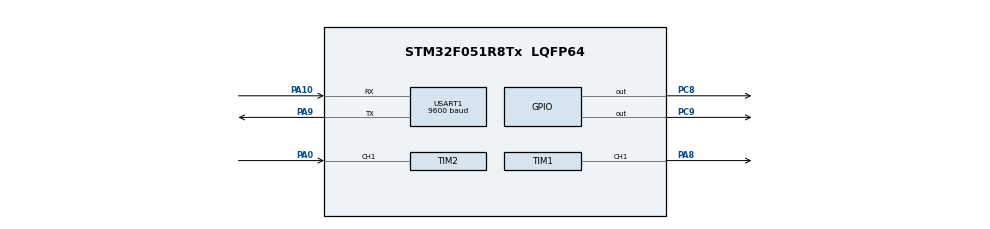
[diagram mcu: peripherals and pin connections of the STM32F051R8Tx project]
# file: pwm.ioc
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Mcu.Family=STM32F0
Mcu.Name=STM32F051R8Tx
Mcu.Package=LQFP64
NVIC.TIM2_IRQn=true\:0\:0\:false\:false\:true\:true\:true\:true
PA0.Signal=S_TIM2_CH1_ETR
PA10.Mode=Asynchronous
PA10.Signal=USART1_RX
PA13.Mode=Serial_Wire
PA13.Signal=SYS_SWDIO
PA14.Mode=Serial_Wire
PA14.Signal=SYS_SWCLK
PA8.Signal=S_TIM1_CH1
PA9.Mode=Asynchronous
PA9.Signal=USART1_TX
PC8.Signal=GPIO_Output
PC9.Signal=GPIO_Output
PF0-OSC_IN.Mode=HSE-External-Oscillator
PF0-OSC_IN.Signal=RCC_OSC_IN
PF1-OSC_OUT.Mode=HSE-External-Oscillator
PF1-OSC_OUT.Signal=RCC_OSC_OUT
ProjectManager.HeapSize=0x200
ProjectManager.StackSize=0x400
ProjectManager.TargetToolchain=STM32CubeIDE
RCC.PLLSourceVirtual=RCC_PLLSOURCE_HSE
SH.S_TIM1_CH1.0=TIM1_CH1,PWM Generation1 CH1
SH.S_TIM2_CH1_ETR.0=TIM2_CH1,PWM_Input_1
TIM1.AutoReloadPreload=TIM_AUTORELOAD_PRELOAD_ENABLE
TIM1.Channel-PWM\ Generation1\ CH1=TIM_CHANNEL_1
TIM1.Period=499
TIM1.Prescaler=7
TIM2.AutoReloadPreload=TIM_AUTORELOAD_PRELOAD_ENABLE
USART1.BaudRate=9600
USART1.VirtualMode-Asynchronous=VM_ASYNC
VP_TIM1_VS_ClockSourceINT.Mode=Internal
VP_TIM2_VS_ClockSourceINT.Mode=Internal
board=custom

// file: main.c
#include "main.h"
#include <stdio.h>

/* USER CODE BEGIN PTD */

uint32_t risingEdgeTime = 0;
uint32_t fallingEdgeTime = 0;
float dutyCycle = 0.0f;
float frequency = 0.0f;

/* USER CODE END PTD */

TIM_HandleTypeDef htim1;
TIM_HandleTypeDef htim2;

UART_HandleTypeDef huart1;

void SystemClock_Config(void);
static void MX_GPIO_Init(void);
static void MX_TIM1_Init(void);
static void MX_TIM2_Init(void);
static void MX_USART1_UART_Init(void);

/* USER CODE BEGIN 0 */
#ifdef __GNUC__
  // With GCC/RAISONANCE, small printf (option LD Linker->Libraries->Small printf set to 'Yes') calls __io_putchar()
  #define PUTCHAR_PROTOTYPE int __io_putchar(int ch)
#else
  #define PUTCHAR_PROTOTYPE int fputc(int ch, FILE *f)
#endif /* __GNUC__ */

PUTCHAR_PROTOTYPE {
  HAL_UART_Transmit(&huart1, (uint8_t*)&ch, 1, HAL_MAX_DELAY);
  return ch;
}

/* USER CODE END 0 */

int main(void)
{

  /* MCU Configuration--------------------------------------------------------*/

  /* Reset of all peripherals, Initializes the Flash interface and the Systick. */
  HAL_Init();

  /* Configure the system clock */
  SystemClock_Config();

  /* Initialize all configured peripherals */
  MX_GPIO_Init();
  MX_TIM1_Init();
  MX_TIM2_Init();
  MX_USART1_UART_Init();
  /* USER CODE BEGIN 2 */
  TIM1->CCR1 = 250;
  HAL_TIM_PWM_Start(&htim1, TIM_CHANNEL_1);
  HAL_TIM_IC_Start_IT(&htim2, TIM_CHANNEL_1);
  HAL_TIM_IC_Start(&htim2, TIM_CHANNEL_2);

  /* USER CODE END 2 */

  /* Infinite loop */
  while (1)
  {
	  // Turn ON LED on PC8
	        HAL_GPIO_WritePin(GPIOC, GPIO_PIN_8, GPIO_PIN_SET);

	        // Turn ON LED on PC9
	        HAL_GPIO_WritePin(GPIOC, GPIO_PIN_9, GPIO_PIN_SET);

	        // Add a delay to keep the LEDs ON for some time
	        HAL_Delay(1000);  // Delay for 1000 milliseconds (adjust as needed)

	        // Turn OFF LED on PC8
	        HAL_GPIO_WritePin(GPIOC, GPIO_PIN_8, GPIO_PIN_RESET);

	        // Turn OFF LED on PC9
	        HAL_GPIO_WritePin(GPIOC, GPIO_PIN_9, GPIO_PIN_RESET);

	        // Add a delay to keep the LEDs OFF for some time
	        HAL_Delay(1000);  // Delay for 1000 milliseconds (adjust as needed)
  }
}

void SystemClock_Config(void)
{
  RCC_OscInitTypeDef RCC_OscInitStruct = {0};
  RCC_ClkInitTypeDef RCC_ClkInitStruct = {0};
  RCC_PeriphCLKInitTypeDef PeriphClkInit = {0};

  /** Initializes the RCC Oscillators according to the specified parameters
  * in the RCC_OscInitTypeDef structure.
  */
  RCC_OscInitStruct.OscillatorType = RCC_OSCILLATORTYPE_HSI;
  RCC_OscInitStruct.HSIState = RCC_HSI_ON;
  RCC_OscInitStruct.HSICalibrationValue = RCC_HSICALIBRATION_DEFAULT;
  RCC_OscInitStruct.PLL.PLLState = RCC_PLL_NONE;
  if (HAL_RCC_OscConfig(&RCC_OscInitStruct) != HAL_OK)
  {
    Error_Handler();
  }

  /** Initializes the CPU, AHB and APB buses clocks
  */
  RCC_ClkInitStruct.ClockType = RCC_CLOCKTYPE_HCLK|RCC_CLOCKTYPE_SYSCLK
                              |RCC_CLOCKTYPE_PCLK1;
  RCC_ClkInitStruct.SYSCLKSource = RCC_SYSCLKSOURCE_HSI;
  RCC_ClkInitStruct.AHBCLKDivider = RCC_SYSCLK_DIV1;
  RCC_ClkInitStruct.APB1CLKDivider = RCC_HCLK_DIV1;

  if (HAL_RCC_ClockConfig(&RCC_ClkInitStruct, FLASH_LATENCY_0) != HAL_OK)
  {
    Error_Handler();
  }
  PeriphClkInit.PeriphClockSelection = RCC_PERIPHCLK_USART1;
  PeriphClkInit.Usart1ClockSelection = RCC_USART1CLKSOURCE_PCLK1;
  if (HAL_RCCEx_PeriphCLKConfig(&PeriphClkInit) != HAL_OK)
  {
    Error_Handler();
  }
}

static void MX_TIM1_Init(void)
{

  TIM_ClockConfigTypeDef sClockSourceConfig = {0};
  TIM_MasterConfigTypeDef sMasterConfig = {0};
  TIM_OC_InitTypeDef sConfigOC = {0};
  TIM_BreakDeadTimeConfigTypeDef sBreakDeadTimeConfig = {0};

  htim1.Instance = TIM1;
  htim1.Init.Prescaler = 7;
  htim1.Init.CounterMode = TIM_COUNTERMODE_UP;
  htim1.Init.Period = 499;
  htim1.Init.ClockDivision = TIM_CLOCKDIVISION_DIV1;
  htim1.Init.RepetitionCounter = 0;
  htim1.Init.AutoReloadPreload = TIM_AUTORELOAD_PRELOAD_ENABLE;
  if (HAL_TIM_Base_Init(&htim1) != HAL_OK)
  {
    Error_Handler();
  }
  sClockSourceConfig.ClockSource = TIM_CLOCKSOURCE_INTERNAL;
  if (HAL_TIM_ConfigClockSource(&htim1, &sClockSourceConfig) != HAL_OK)
  {
    Error_Handler();
  }
  if (HAL_TIM_PWM_Init(&htim1) != HAL_OK)
  {
    Error_Handler();
  }
  sMasterConfig.MasterOutputTrigger = TIM_TRGO_RESET;
  sMasterConfig.MasterSlaveMode = TIM_MASTERSLAVEMODE_DISABLE;
  if (HAL_TIMEx_MasterConfigSynchronization(&htim1, &sMasterConfig) != HAL_OK)
  {
    Error_Handler();
  }
  sConfigOC.OCMode = TIM_OCMODE_PWM1;
  sConfigOC.Pulse = 0;
  sConfigOC.OCPolarity = TIM_OCPOLARITY_HIGH;
  sConfigOC.OCNPolarity = TIM_OCNPOLARITY_HIGH;
  sConfigOC.OCFastMode = TIM_OCFAST_DISABLE;
  sConfigOC.OCIdleState = TIM_OCIDLESTATE_RESET;
  sConfigOC.OCNIdleState = TIM_OCNIDLESTATE_RESET;
  if (HAL_TIM_PWM_ConfigChannel(&htim1, &sConfigOC, TIM_CHANNEL_1) != HAL_OK)
  {
    Error_Handler();
  }
  sBreakDeadTimeConfig.OffStateRunMode = TIM_OSSR_DISABLE;
  sBreakDeadTimeConfig.OffStateIDLEMode = TIM_OSSI_DISABLE;
  sBreakDeadTimeConfig.LockLevel = TIM_LOCKLEVEL_OFF;
  sBreakDeadTimeConfig.DeadTime = 0;
  sBreakDeadTimeConfig.BreakState = TIM_BREAK_DISABLE;
  sBreakDeadTimeConfig.BreakPolarity = TIM_BREAKPOLARITY_HIGH;
  sBreakDeadTimeConfig.AutomaticOutput = TIM_AUTOMATICOUTPUT_DISABLE;
  if (HAL_TIMEx_ConfigBreakDeadTime(&htim1, &sBreakDeadTimeConfig) != HAL_OK)
  {
    Error_Handler();
  }
  HAL_TIM_MspPostInit(&htim1);

}

static void MX_TIM2_Init(void)
{

  TIM_ClockConfigTypeDef sClockSourceConfig = {0};
  TIM_SlaveConfigTypeDef sSlaveConfig = {0};
  TIM_IC_InitTypeDef sConfigIC = {0};
  TIM_MasterConfigTypeDef sMasterConfig = {0};

  htim2.Instance = TIM2;
  htim2.Init.Prescaler = 0;
  htim2.Init.CounterMode = TIM_COUNTERMODE_UP;
  htim2.Init.Period = 4294967295;
  htim2.Init.ClockDivision = TIM_CLOCKDIVISION_DIV1;
  htim2.Init.AutoReloadPreload = TIM_AUTORELOAD_PRELOAD_ENABLE;
  if (HAL_TIM_Base_Init(&htim2) != HAL_OK)
  {
    Error_Handler();
  }
  sClockSourceConfig.ClockSource = TIM_CLOCKSOURCE_INTERNAL;
  if (HAL_TIM_ConfigClockSource(&htim2, &sClockSourceConfig) != HAL_OK)
  {
    Error_Handler();
  }
  if (HAL_TIM_IC_Init(&htim2) != HAL_OK)
  {
    Error_Handler();
  }
  sSlaveConfig.SlaveMode = TIM_SLAVEMODE_RESET;
  sSlaveConfig.InputTrigger = TIM_TS_TI1FP1;
  sSlaveConfig.TriggerPolarity = TIM_INPUTCHANNELPOLARITY_RISING;
  sSlaveConfig.TriggerPrescaler = TIM_ICPSC_DIV1;
  sSlaveConfig.TriggerFilter = 0;
  if (HAL_TIM_SlaveConfigSynchro(&htim2, &sSlaveConfig) != HAL_OK)
  {
    Error_Handler();
  }
  sConfigIC.ICPolarity = TIM_INPUTCHANNELPOLARITY_RISING;
  sConfigIC.ICSelection = TIM_ICSELECTION_DIRECTTI;
  sConfigIC.ICPrescaler = TIM_ICPSC_DIV1;
  sConfigIC.ICFilter = 0;
  if (HAL_TIM_IC_ConfigChannel(&htim2, &sConfigIC, TIM_CHANNEL_1) != HAL_OK)
  {
    Error_Handler();
  }
  sConfigIC.ICPolarity = TIM_INPUTCHANNELPOLARITY_FALLING;
  sConfigIC.ICSelection = TIM_ICSELECTION_INDIRECTTI;
  if (HAL_TIM_IC_ConfigChannel(&htim2, &sConfigIC, TIM_CHANNEL_2) != HAL_OK)
  {
    Error_Handler();
  }
  sMasterConfig.MasterOutputTrigger = TIM_TRGO_RESET;
  sMasterConfig.MasterSlaveMode = TIM_MASTERSLAVEMODE_DISABLE;
  if (HAL_TIMEx_MasterConfigSynchronization(&htim2, &sMasterConfig) != HAL_OK)
  {
    Error_Handler();
  }

}

static void MX_USART1_UART_Init(void)
{

  huart1.Instance = USART1;
  huart1.Init.BaudRate = 9600;
  huart1.Init.WordLength = UART_WORDLENGTH_8B;
  huart1.Init.StopBits = UART_STOPBITS_1;
  huart1.Init.Parity = UART_PARITY_NONE;
  huart1.Init.Mode = UART_MODE_TX_RX;
  huart1.Init.HwFlowCtl = UART_HWCONTROL_NONE;
  huart1.Init.OverSampling = UART_OVERSAMPLING_16;
  huart1.Init.OneBitSampling = UART_ONE_BIT_SAMPLE_DISABLE;
  huart1.AdvancedInit.AdvFeatureInit = UART_ADVFEATURE_NO_INIT;
  if (HAL_UART_Init(&huart1) != HAL_OK)
  {
    Error_Handler();
  }

}

static void MX_GPIO_Init(void)
{
  GPIO_InitTypeDef GPIO_InitStruct = {0};

  /* GPIO Ports Clock Enable */
  __HAL_RCC_GPIOF_CLK_ENABLE();
  __HAL_RCC_GPIOA_CLK_ENABLE();
  __HAL_RCC_GPIOC_CLK_ENABLE();

  /*Configure GPIO pin Output Level */
  HAL_GPIO_WritePin(GPIOC, GPIO_PIN_8|GPIO_PIN_9, GPIO_PIN_RESET);

  /*Configure GPIO pins : PC8 PC9 */
  GPIO_InitStruct.Pin = GPIO_PIN_8|GPIO_PIN_9;
  GPIO_InitStruct.Mode = GPIO_MODE_OUTPUT_PP;
  GPIO_InitStruct.Pull = GPIO_NOPULL;
  GPIO_InitStruct.Speed = GPIO_SPEED_FREQ_LOW;
  HAL_GPIO_Init(GPIOC, &GPIO_InitStruct);

}

/* USER CODE BEGIN 4 */

void HAL_TIM_IC_CaptureCallback(TIM_HandleTypeDef *htim)
{
  if (htim->Instance == TIM2)
  {
    if (HAL_TIM_ReadCapturedValue(htim, TIM_CHANNEL_1) < risingEdgeTime)
    {
      risingEdgeTime = HAL_TIM_ReadCapturedValue(htim, TIM_CHANNEL_1);
      fallingEdgeTime = HAL_TIM_ReadCapturedValue(htim, TIM_CHANNEL_2);

      // Calculate period and pulse width
      uint32_t period = fallingEdgeTime - risingEdgeTime;
      uint32_t pulseWidth = fallingEdgeTime - htim->Instance->CCR1;

      // Check for division by zero
      if (period != 0)
      {
        // Calculate duty cycle
        dutyCycle = ((float)pulseWidth / (float)period) * 100.0f;
      }
      else
      {
        // Handle the case where the period is zero (avoid division by zero)
        dutyCycle = 0.0f;
      }

      // Calculate frequency
      if (period != 0)
      {
        frequency = 1.0f / ((float)period / (float)htim->Init.Prescaler / (float)HAL_RCC_GetPCLK1Freq());
      }
      else
      {
        // Handle the case where the period is zero (avoid division by zero)
        frequency = 0.0f;
      }

      // Reset the edge times for the next cycle
      risingEdgeTime = 0;
      fallingEdgeTime = 0;
    }
  }
}

/* USER CODE END 4 */

void Error_Handler(void)
{
  __disable_irq();
  while (1)
  {
  }
}
